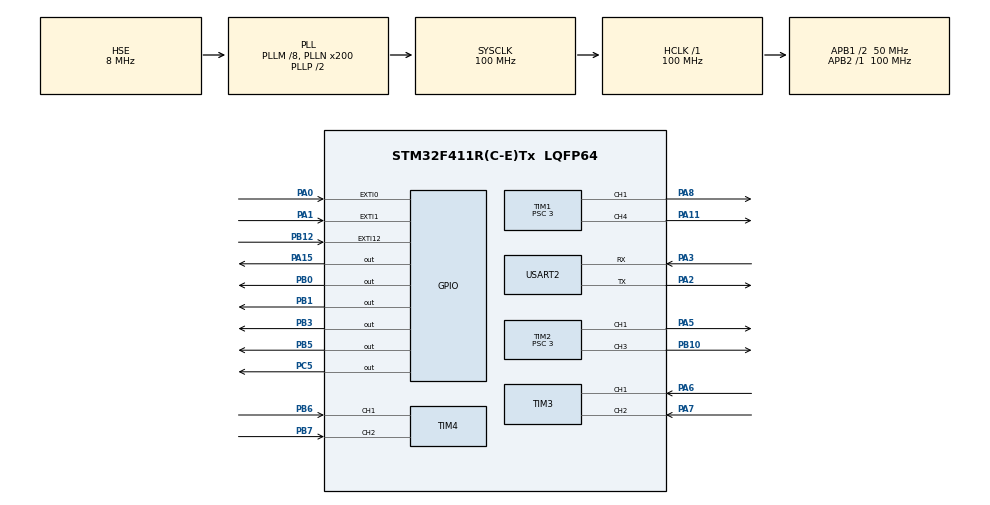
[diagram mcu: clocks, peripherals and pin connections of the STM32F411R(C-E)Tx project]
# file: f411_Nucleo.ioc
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Mcu.Family=STM32F4
Mcu.Name=STM32F411R(C-E)Tx
Mcu.Package=LQFP64
NVIC.EXTI0_IRQn=true\:0\:0\:false\:false\:true\:true\:true\:true
NVIC.EXTI1_IRQn=true\:0\:0\:false\:false\:true\:true\:true\:true
NVIC.PriorityGroup=NVIC_PRIORITYGROUP_4
NVIC.USART2_IRQn=true\:0\:0\:false\:false\:true\:true\:true\:true
PA0-WKUP.GPIO_ModeDefaultEXTI=GPIO_MODE_IT_FALLING
PA0-WKUP.GPIO_PuPd=GPIO_PULLUP
PA0-WKUP.Signal=GPXTI0
PA1.GPIO_ModeDefaultEXTI=GPIO_MODE_IT_FALLING
PA1.GPIO_PuPd=GPIO_PULLUP
PA1.Signal=GPXTI1
PA11.Signal=S_TIM1_CH4
PA13.Mode=Serial_Wire
PA13.Signal=SYS_JTMS-SWDIO
PA14.Mode=Serial_Wire
PA14.Signal=SYS_JTCK-SWCLK
PA15.Signal=GPIO_Output
PA2.Mode=Asynchronous
PA2.Signal=USART2_TX
PA3.Mode=Asynchronous
PA3.Signal=USART2_RX
PA5.Signal=S_TIM2_CH1_ETR
PA6.Signal=S_TIM3_CH1
PA7.Signal=S_TIM3_CH2
PA8.Signal=S_TIM1_CH1
PB0.Signal=GPIO_Output
PB1.Signal=GPIO_Output
PB10.Signal=S_TIM2_CH3
PB12.Signal=GPXTI12
PB3.Signal=GPIO_Output
PB5.Signal=GPIO_Output
PB6.Signal=S_TIM4_CH1
PB7.Signal=S_TIM4_CH2
PC5.Signal=GPIO_Output
PH0\ -\ OSC_IN.Mode=HSE-External-Oscillator
PH0\ -\ OSC_IN.Signal=RCC_OSC_IN
PH1\ -\ OSC_OUT.Mode=HSE-External-Oscillator
PH1\ -\ OSC_OUT.Signal=RCC_OSC_OUT
ProjectManager.HeapSize=0x200
ProjectManager.StackSize=0x400
ProjectManager.TargetToolchain=STM32CubeIDE
RCC.48MHZClocksFreq_Value=50000000
RCC.AHBFreq_Value=100000000
RCC.APB1CLKDivider=RCC_HCLK_DIV2
RCC.APB1Freq_Value=50000000
RCC.APB1TimFreq_Value=100000000
RCC.APB2Freq_Value=100000000
RCC.APB2TimFreq_Value=100000000
RCC.CortexFreq_Value=100000000
RCC.HCLKFreq_Value=100000000
RCC.HSE_VALUE=8000000
RCC.HSI_VALUE=16000000
RCC.LSE_VALUE=32768
RCC.PLLM=8
RCC.PLLN=200
RCC.PLLSourceVirtual=RCC_PLLSOURCE_HSE
RCC.SYSCLKFreq_VALUE=100000000
RCC.SYSCLKSource=RCC_SYSCLKSOURCE_PLLCLK
RCC.VCOOutputFreq_Value=200000000
SH.S_TIM1_CH1.0=TIM1_CH1,PWM Generation1 CH1
SH.S_TIM1_CH4.0=TIM1_CH4,PWM Generation4 CH4
SH.S_TIM2_CH1_ETR.0=TIM2_CH1,PWM Generation1 CH1
SH.S_TIM2_CH3.0=TIM2_CH3,PWM Generation3 CH3
SH.S_TIM3_CH1.0=TIM3_CH1,Encoder_Interface
SH.S_TIM3_CH2.0=TIM3_CH2,Encoder_Interface
SH.S_TIM4_CH1.0=TIM4_CH1,Encoder_Interface
SH.S_TIM4_CH2.0=TIM4_CH2,Encoder_Interface
TIM1.Channel-PWM\ Generation1\ CH1=TIM_CHANNEL_1
TIM1.Channel-PWM\ Generation4\ CH4=TIM_CHANNEL_4
TIM1.Period=999
TIM1.Prescaler=3
TIM2.Channel-PWM\ Generation1\ CH1=TIM_CHANNEL_1
TIM2.Channel-PWM\ Generation3\ CH3=TIM_CHANNEL_3
TIM2.Period=999
TIM2.Prescaler=3
TIM3.EncoderMode=TIM_ENCODERMODE_TI12
USART2.VirtualMode=VM_ASYNC
VP_TIM1_VS_ClockSourceINT.Mode=Internal
board=custom

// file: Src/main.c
/* USER CODE BEGIN Header */
/**
  ******************************************************************************
  * @file           : main.c
  * @brief          : F411 1kHz CF
  ******************************************************************************
  */
/* USER CODE END Header */
#include "main.h"

/* USER CODE BEGIN Includes */
#include "PID.h"
#include "sr595.h"
#include <math.h>
#include <stdio.h>
#include <string.h>
#include <stdlib.h>
/* USER CODE END Includes */

/* USER CODE BEGIN PD */

/* Controller parameters - Motor 1 */
#define PID_KP           0.7915f
#define PID_KI           1.0f
#define PID_KD           0.0f
#define PID_TAU          0.02f

#define PID_LIM_MIN     -10.0f
#define PID_LIM_MAX      10.0f
#define PID_LIM_MIN_INT  -5.0f
#define PID_LIM_MAX_INT   5.0f

/* Controller parameters - Motor 2 */
#define PID2_KP           1.0f
#define PID2_KI           0.0f
#define PID2_KD           0.04f
#define PID2_TAU          0.2f

#define PID2_LIM_MIN     -10.0f
#define PID2_LIM_MAX      10.0f
#define PID2_LIM_MIN_INT  -5.0f
#define PID2_LIM_MAX_INT   5.0f

#define SAMPLE_TIME_S    0.001f
#define TELEMETRY_MS     20U

/* Encoder */
#define COUNTS_PER_REV   700.0f

/* H-bridge PWM mapping on the F411 version */
#define PWM_REV_TIM      htim1
#define PWM_REV_CH       TIM_CHANNEL_1   /* PA8  */
#define PWM_FWD_TIM      htim1
#define PWM_FWD_CH       TIM_CHANNEL_4   /* PA11 */

/* ---------- Motor 2 ---------- */
#define COUNTS_PER_REV_M2   700.0f

#define M2_PWM_REV_TIM      htim2
#define M2_PWM_REV_CH       TIM_CHANNEL_1

#define M2_PWM_FWD_TIM      htim2
#define M2_PWM_FWD_CH       TIM_CHANNEL_3

/* Solenoid shift-register control */
#define NUM_SOLENOIDS        5U
#define SL1_MASK             ((uint8_t)(1U << 0))   /* QA */
#define SL2_MASK             ((uint8_t)(1U << 4))   /* QE */
#define SL3_MASK             ((uint8_t)(1U << 3))   /* QD */
#define SL4_MASK             ((uint8_t)(1U << 2))   /* QC */
#define SL5_SPECIAL_MASK     ((uint8_t)0xE2)        /* QB + QF + QG + QH */

/* Limit switch */
#define LIMIT_SW_GPIO_Port GPIOB
#define LIMIT_SW_Pin       GPIO_PIN_12

/* Hysteresis / safety */
#define U_ON              0.30f
#define U_OFF             0.05f
#define DUTY_MAX          0.38f
#define DUTY_MIN_ACTIVE   0.15f
#define DEADTIME_MS       50U

#define DUTY_MAX2         0.5f

#define HOMING_MOVE_AWAY_DUTY   0.4f
#define HOMING_SEEK_DUTY        0.35f
#define HOMING_MOVE_AWAY_MS     250U
#define HOMING_SETTLE_MS         30U
#define HOMING_TIMEOUT_MS      4000U

#define HOMING2_SEEK_DUTY           0.4f
#define HOMING2_BACKOFF_DUTY        0.25f
#define HOMING2_WINDOW_MS           50U
#define HOMING2_STARTUP_IGNORE_MS   300U
#define HOMING2_STALL_COUNTS        1
#define HOMING2_STALL_CONFIRM_MS    300U
#define HOMING2_BACKOFF_COUNTS      20U
#define HOMING2_SETTLE_MS           30U

//homing limit
#define HOMING2_MAX_SEEK_MS      3000U
#define HOMING2_MAX_BACKOFF_MS   1500U

#define SPREAD_LEVEL_MIN     0
#define SPREAD_LEVEL_MAX     4

static const float kSpreadAngleTable[5] =
{
    -10.0f,   /* level 0 */
    43.0f,  /* level 1 */
    86.0f,  /* level 2 */
    129.0f, /* level 3 */
    172.0f  /* level 4 */
};
/* USER CODE END PD */

TIM_HandleTypeDef htim1;
TIM_HandleTypeDef htim2;
TIM_HandleTypeDef htim3;
TIM_HandleTypeDef htim4;

UART_HandleTypeDef huart2;

/* USER CODE BEGIN PV */
volatile float desiredAngle = 0.0f;
volatile uint8_t solenoidState = 0;
volatile uint8_t limitSwitchRight = 0;

/* ---------- Motor 1 ---------- */
volatile float actualAngle = 0.0f;
volatile float duty_cmd = 0.0f;
volatile float control_u = 0.0f;
volatile int8_t dir = 0;

PIDController pid =
{
    PID_KP,
    PID_KI,
    PID_KD,
    PID_TAU,
    PID_LIM_MIN,
    PID_LIM_MAX,
    PID_LIM_MIN_INT,
    PID_LIM_MAX_INT,
    SAMPLE_TIME_S,
    0.0f,
    0.0f
};

static uint8_t rxByte;
static char rxLine[32];
static uint8_t rxIdx = 0;

static volatile int8_t dir_state = 0;
static volatile int8_t applied_dir = 0;
static volatile uint16_t deadtimeTicks = 0U;

/* ---------- Motor 2 ---------- */
volatile float desiredAngle2 = -10.0f;
volatile float actualAngle2 = 0.0f;
volatile float duty_cmd2 = 0.0f;
volatile float control_u2 = 0.0f;
volatile int8_t dir2 = 0;

PIDController pid2 =
{
    PID2_KP,
    PID2_KI,
    PID2_KD,
    PID2_TAU,
    PID2_LIM_MIN,
    PID2_LIM_MAX,
    PID2_LIM_MIN_INT,
    PID2_LIM_MAX_INT,
    SAMPLE_TIME_S,
    0.0f,
    0.0f
};

static volatile int8_t dir_state2 = 0;
static volatile int8_t applied_dir2 = 0;
static volatile uint16_t deadtimeTicks2 = 0U;
/* -------------------------*/

static volatile int32_t prevRawCount2 = 0;
static volatile float absAngle2 = 0.0f;

static volatile uint8_t controlEnabled = 0U;

static volatile uint8_t homingActive = 0U;
static volatile uint8_t homingRequest = 0U;

static volatile int32_t prevRawCount = 0;
static volatile float absAngle = 0.0f;

#define UART_TX_BUF_SIZE 512U
static uint8_t uartTxBuf[UART_TX_BUF_SIZE];
static volatile uint16_t uartTxHead = 0U;
static volatile uint16_t uartTxTail = 0U;
static volatile uint16_t uartTxCount = 0U;
static volatile uint16_t uartTxChunkLen = 0U;
static volatile uint8_t uartTxBusy = 0U;

static char printMessage[128];

/* SR595 state */
SR595_HandleTypeDef hsr;
static uint8_t solenoidMask = 0U;

/* USER CODE END PV */

void SystemClock_Config(void);
static void MX_GPIO_Init(void);
static void MX_TIM1_Init(void);
static void MX_TIM4_Init(void);
static void MX_USART2_UART_Init(void);
static void MX_TIM2_Init(void);
static void MX_TIM3_Init(void);
/* USER CODE BEGIN PFP */
static inline void PWM_SetDuty(TIM_HandleTypeDef *htim, uint32_t channel, float duty);
static void Solenoid_WriteMask(uint8_t mask);
static void Solenoid_Select(uint8_t selection);
static inline void Solenoid_Set(uint8_t on);
static uint8_t Solenoid_ParseExactMask(const char *s, uint8_t *outMask);
static inline uint8_t Read_Right_Limit_Switch(void);
static void UART_TxKickoff(void);
static void UART_QueueBytes(const uint8_t *data, uint16_t len);
static void UART_QueueString(const char *s);
static void VOFA_ParseCommand(const char *line);
static void Send_Telemetry(void);
static void Start_Peripherals(void);
static void Run_Homing_Routine(void);
static void home_motor1(void);
static void home_motor2(void);
void Control_Loop_1kHz(void);
static int32_t RoundFloatToInt(float x);
static float SpreadLevelToAngle(int32_t level);
/* USER CODE END PFP */

/* USER CODE BEGIN 0 */

static inline void PWM_SetDuty(TIM_HandleTypeDef *htim, uint32_t channel, float duty)
{
    if (duty < 0.0f) duty = 0.0f;
    if (duty > 1.0f) duty = 1.0f;

    uint32_t arr = __HAL_TIM_GET_AUTORELOAD(htim);
    uint32_t ccr = (uint32_t)(duty * (float)arr);
    __HAL_TIM_SET_COMPARE(htim, channel, ccr);
}

static int32_t RoundFloatToInt(float x)
{
    if (x >= 0.0f)
    {
        return (int32_t)(x + 0.5f);
    }
    else
    {
        return (int32_t)(x - 0.5f);
    }
}

static float SpreadLevelToAngle(int32_t level)
{
    if (level < SPREAD_LEVEL_MIN)
    {
        level = SPREAD_LEVEL_MIN;
    }
    if (level > SPREAD_LEVEL_MAX)
    {
        level = SPREAD_LEVEL_MAX;
    }

    return kSpreadAngleTable[level];
}

static void Solenoid_WriteMask(uint8_t mask)
{
    /* Board is active-low:
       logical 1 = solenoid ON
       hardware needs 0 on that output to turn it ON
    */
	SR595_Write(&hsr, mask);
}

static void Solenoid_Select(uint8_t selection)
{
    uint8_t newMask = 0U;

    if (selection == 0U)
    {
        solenoidState = 0U;
        solenoidMask  = 0U;
        Solenoid_WriteMask(solenoidMask);
    }
    else if (selection == 1U)
    {
        newMask = SL1_MASK;
        solenoidState = 1U;
        solenoidMask  = newMask;
        Solenoid_WriteMask(solenoidMask);
    }
    else if (selection == 2U)
    {
        newMask = SL2_MASK;
        solenoidState = 1U;
        solenoidMask  = newMask;
        Solenoid_WriteMask(solenoidMask);
    }
    else if (selection == 3U)
    {
        newMask = SL3_MASK;
        solenoidState = 1U;
        solenoidMask  = newMask;
        Solenoid_WriteMask(solenoidMask);
    }
    else if (selection == 4U)
    {
        newMask = SL4_MASK;
        solenoidState = 1U;
        solenoidMask  = newMask;
        Solenoid_WriteMask(solenoidMask);
    }
    else if (selection == 5U)
    {
        newMask = SL5_SPECIAL_MASK;
        solenoidState = 1U;
        solenoidMask  = newMask;
        Solenoid_WriteMask(solenoidMask);
    }
}

static uint8_t Solenoid_ParseExactMask(const char *s, uint8_t *outMask)
{
    uint8_t mask = 0U;
    uint8_t sawDigit = 0U;

    if ((s == NULL) || (outMask == NULL))
    {
        return 0U;
    }

    while (*s != '\0')
    {
        char c = *s++;
        sawDigit = 1U;

        switch (c)
        {
            case '0':
                if (*s != '\0' || mask != 0U)
                {
                    return 0U;
                }
                mask = 0U;
                break;

            case '1':
                mask |= SL1_MASK;
                break;

            case '2':
                mask |= SL2_MASK;
                break;

            case '3':
                mask |= SL3_MASK;
                break;

            case '4':
                mask |= SL4_MASK;
                break;

            case '5':
                mask |= SL5_SPECIAL_MASK;
                break;

            default:
                return 0U;
        }
    }

    if (sawDigit == 0U)
    {
        return 0U;
    }

    *outMask = mask;
    return 1U;
}

static inline void Solenoid_Set(uint8_t on)
{
    if (on != 0U)
    {
        Solenoid_Select(1U);
    }
    else
    {
        Solenoid_Select(0U);
    }
}

static inline uint8_t Read_Right_Limit_Switch(void)
{
    return (HAL_GPIO_ReadPin(LIMIT_SW_GPIO_Port, LIMIT_SW_Pin) == GPIO_PIN_SET) ? 0U : 1U;
}

static void UART_TxKickoff(void)
{
    if ((uartTxBusy != 0U) || (uartTxCount == 0U))
    {
        return;
    }

    if (uartTxHead > uartTxTail)
    {
        uartTxChunkLen = (uint16_t)(uartTxHead - uartTxTail);
    }
    else
    {
        uartTxChunkLen = (uint16_t)(UART_TX_BUF_SIZE - uartTxTail);
    }

    uartTxBusy = 1U;

    if (HAL_UART_Transmit_IT(&huart2, &uartTxBuf[uartTxTail], uartTxChunkLen) != HAL_OK)
    {
        uartTxBusy = 0U;
        uartTxChunkLen = 0U;
    }
}

static void UART_QueueBytes(const uint8_t *data, uint16_t len)
{
    uint32_t primask = __get_PRIMASK();
    __disable_irq();

    /* If whole message cannot fit, drop the whole message */
    if ((uint16_t)(uartTxCount + len) > UART_TX_BUF_SIZE)
    {
        if (primask == 0U)
        {
            __enable_irq();
        }
        return;
    }

    for (uint16_t i = 0U; i < len; i++)
    {
        uartTxBuf[uartTxHead] = data[i];
        uartTxHead = (uint16_t)((uartTxHead + 1U) % UART_TX_BUF_SIZE);
        uartTxCount++;
    }

    UART_TxKickoff();

    if (primask == 0U)
    {
        __enable_irq();
    }
}

static void UART_QueueString(const char *s)
{
    UART_QueueBytes((const uint8_t *)s, (uint16_t)strlen(s));
}

static void VOFA_ParseCommand(const char *line)
{
    const char *eq = strchr(line, '=');
    if (eq == NULL)
    {
        return;
    }

    float val = strtof(eq + 1, NULL);

    size_t prefixLen = (size_t)(eq - line);
    char prefix[8] = {0};

    if (prefixLen >= sizeof(prefix))
    {
        return;
    }

    memcpy(prefix, line, prefixLen);

    char ack[64];

    if (strcmp(prefix, "KP") == 0)
    {
        pid.Kp = val;
        snprintf(ack, sizeof(ack), "ACK KP=%.5f\r\n", pid.Kp);
    }
    else if (strcmp(prefix, "KI") == 0)
    {
        pid.Ki = val;
        pid.integrator = 0.0f;
        snprintf(ack, sizeof(ack), "ACK KI=%.5f\r\n", pid.Ki);
    }
    else if (strcmp(prefix, "KD") == 0)
    {
        pid.Kd = val;
        pid.differentiator = 0.0f;
        snprintf(ack, sizeof(ack), "ACK KD=%.5f\r\n", pid.Kd);
    }
    else if (strcmp(prefix, "TAU") == 0)
    {
        pid.tau = val;
        snprintf(ack, sizeof(ack), "ACK TAU=%.5f\r\n", pid.tau);
    }
    else if (strcmp(prefix, "SP") == 0)
    {
        desiredAngle = val;
        snprintf(ack, sizeof(ack), "ACK SP=%.3f\r\n", desiredAngle);
    }
    else if (strcmp(prefix, "SL") == 0)
    {
        uint8_t newMask = 0U;
        char roundedStr[16];
        char *endptr = NULL;
        float rawSel;
        long roundedSel;

        rawSel = strtof(eq + 1, &endptr);

        if ((endptr == (eq + 1)) || ((*endptr != '\0') && (*endptr != '\r') && (*endptr != '\n')))
        {
            snprintf(ack, sizeof(ack), "ERR SL format\r\n");
        }
        else
        {
            /* Round float from VOFA to nearest integer */
            if (rawSel >= 0.0f)
            {
                roundedSel = (long)(rawSel + 0.5f);
            }
            else
            {
                roundedSel = (long)(rawSel - 0.5f);
            }

            if ((roundedSel < 0L) || (roundedSel > 55555L))
            {
                snprintf(ack, sizeof(ack), "ERR SL range\r\n");
            }
            else
            {
                snprintf(roundedStr, sizeof(roundedStr), "%ld", roundedSel);

                if (Solenoid_ParseExactMask(roundedStr, &newMask) != 0U)
                {
                    solenoidMask  = newMask;
                    solenoidState = (newMask != 0U) ? 1U : 0U;
                    Solenoid_WriteMask(solenoidMask);
                    snprintf(ack, sizeof(ack), "ACK SL=%s\r\n", roundedStr);
                }
                else
                {
                    snprintf(ack, sizeof(ack), "ERR SL format\r\n");
                }
            }
        }
    }
    else if (strcmp(prefix, "RE") == 0)
    {
        if (val >= 0.5f)
        {
            homingRequest = 1U;
            snprintf(ack, sizeof(ack), "ACK RE=1\r\n");
        }
        else
        {
            snprintf(ack, sizeof(ack), "ACK RE=0\r\n");
        }
    }
    else if (strcmp(prefix, "KP2") == 0)
    {
        pid2.Kp = val;
        snprintf(ack, sizeof(ack), "ACK KP2=%.5f\r\n", pid2.Kp);
    }
    else if (strcmp(prefix, "KI2") == 0)
    {
        pid2.Ki = val;
        pid2.integrator = 0.0f;
        snprintf(ack, sizeof(ack), "ACK KI2=%.5f\r\n", pid2.Ki);
    }
    else if (strcmp(prefix, "KD2") == 0)
    {
        pid2.Kd = val;
        pid2.differentiator = 0.0f;
        snprintf(ack, sizeof(ack), "ACK KD2=%.5f\r\n", pid2.Kd);
    }
    else if (strcmp(prefix, "TAU2") == 0)
    {
        pid2.tau = val;
        snprintf(ack, sizeof(ack), "ACK TAU2=%.5f\r\n", pid2.tau);
    }
    else if (strcmp(prefix, "SP2") == 0)
{
    desiredAngle2 = val;
    snprintf(ack, sizeof(ack), "ACK SP2=%.3f\r\n", desiredAngle2);
}
	else if (strcmp(prefix, "SF") == 0)
	{
			int32_t spreadLevel = RoundFloatToInt(val);

			if ((spreadLevel < SPREAD_LEVEL_MIN) || (spreadLevel > SPREAD_LEVEL_MAX))
			{
					snprintf(
							ack,
							sizeof(ack),
							"ERR SF range (%d..%d)\r\n",
							SPREAD_LEVEL_MIN,
							SPREAD_LEVEL_MAX
					);
			}
			else
			{
					desiredAngle2 = SpreadLevelToAngle(spreadLevel);

					snprintf(
							ack,
							sizeof(ack),
							"ACK SF=%ld -> SP2=%.3f\r\n",
							(long)spreadLevel,
							desiredAngle2
					);
			}
	}
    else
    {
        snprintf(ack, sizeof(ack), "ERR unknown cmd: %s\r\n", prefix);
    }

    UART_QueueString(ack);
}

static void Send_Telemetry(void)
{
    int n = snprintf(
        printMessage,
        sizeof(printMessage),
        "%.3f, %.3f, %.3f, %.3f, %d, %.3f, %.3f, %.3f, %.3f, %d, %d, %d\r\n",
        desiredAngle,
        actualAngle,
        duty_cmd,
        control_u,
        dir,
        desiredAngle2,
        actualAngle2,
        duty_cmd2,
        control_u2,
        dir2,
        solenoidState,
        (int)homingActive
    );

    if (n > 0)
    {
        UART_QueueBytes((const uint8_t *)printMessage, (uint16_t)n);
    }
}

static void Start_Peripherals(void)
{
    PIDController_Init(&pid);

    HAL_TIM_Encoder_Start(&htim4, TIM_CHANNEL_ALL);

    HAL_TIM_PWM_Start(&PWM_REV_TIM, PWM_REV_CH);
    HAL_TIM_PWM_Start(&PWM_FWD_TIM, PWM_FWD_CH);

    PWM_SetDuty(&PWM_REV_TIM, PWM_REV_CH, 0.0f);
    PWM_SetDuty(&PWM_FWD_TIM, PWM_FWD_CH, 0.0f);

    prevRawCount = (int32_t)TIM4->CNT;
    absAngle = 0.0f;
    dir_state = 0;
    applied_dir = 0;
    dir = 0;
    deadtimeTicks = 0U;

    HAL_UART_Receive_IT(&huart2, &rxByte, 1);

    /* SR595 pin mapping:
     PB0 = data
     PB1 = clock
     PC5 = latch
    */
    hsr.data_port  = GPIOB;
    hsr.data_pin   = GPIO_PIN_0;
    hsr.clk_port   = GPIOB;
    hsr.clk_pin    = GPIO_PIN_1;
    hsr.latch_port = GPIOC;
    hsr.latch_pin  = GPIO_PIN_5;

    SR595_Init(&hsr);
    solenoidMask = 0U;
    Solenoid_WriteMask(solenoidMask);

    controlEnabled = 1U;

    PIDController_Init(&pid2);

    HAL_TIM_Encoder_Start(&htim3, TIM_CHANNEL_ALL);

    HAL_TIM_PWM_Start(&M2_PWM_REV_TIM, M2_PWM_REV_CH);
    HAL_TIM_PWM_Start(&M2_PWM_FWD_TIM, M2_PWM_FWD_CH);

    PWM_SetDuty(&M2_PWM_REV_TIM, M2_PWM_REV_CH, 0.0f);
    PWM_SetDuty(&M2_PWM_FWD_TIM, M2_PWM_FWD_CH, 0.0f);

    prevRawCount2 = (int32_t)TIM3->CNT;
    absAngle2 = 0.0f;
    dir_state2 = 0;
    applied_dir2 = 0;
    dir2 = 0;
    deadtimeTicks2 = 0U;
}

static void Run_Homing_Routine(void)
{
    homingActive = 1U;
    Send_Telemetry();

    controlEnabled = 0U;

    /* Stop both motors before homing */
    PWM_SetDuty(&PWM_FWD_TIM,    PWM_FWD_CH,    0.0f);
    PWM_SetDuty(&PWM_REV_TIM,    PWM_REV_CH,    0.0f);
    PWM_SetDuty(&M2_PWM_FWD_TIM, M2_PWM_FWD_CH, 0.0f);
    PWM_SetDuty(&M2_PWM_REV_TIM, M2_PWM_REV_CH, 0.0f);

    /* Home motor 2 first, then motor 1 */
    home_motor2();
    home_motor1();

    homingActive = 0U;
    controlEnabled = 1U;

    Send_Telemetry();
}

static void home_motor1(void)
{
    PWM_SetDuty(&PWM_FWD_TIM, PWM_FWD_CH, 0.0f);
    PWM_SetDuty(&PWM_REV_TIM, PWM_REV_CH, 0.0f);

    pid.integrator      = 0.0f;
    pid.differentiator  = 0.0f;
    pid.prevError       = 0.0f;
    pid.prevMeasurement = actualAngle;
    control_u           = 0.0f;
    duty_cmd            = 0.0f;
    dir_state           = 0;
    applied_dir         = 0;
    deadtimeTicks       = 0U;
    limitSwitchRight    = Read_Right_Limit_Switch();

    /* If already sitting on the home switch, back off first so the next hit is real. */
    dir = -1;
    PWM_SetDuty(&PWM_FWD_TIM, PWM_REV_CH, HOMING_MOVE_AWAY_DUTY);
    PWM_SetDuty(&PWM_REV_TIM, PWM_FWD_CH, 0.0f);
    HAL_Delay(HOMING_MOVE_AWAY_MS);

    PWM_SetDuty(&PWM_FWD_TIM, PWM_FWD_CH, 0.0f);
    PWM_SetDuty(&PWM_REV_TIM, PWM_REV_CH, 0.0f);
    HAL_Delay(HOMING_SETTLE_MS);

    /* Seek toward the home switch. No timeout. */
    dir = +1;

    while (Read_Right_Limit_Switch() == 0U)
    {
        PWM_SetDuty(&PWM_REV_TIM, PWM_FWD_CH, HOMING_SEEK_DUTY);
        PWM_SetDuty(&PWM_FWD_TIM, PWM_REV_CH, 0.0f);
        HAL_Delay(1);
    }
    PWM_SetDuty(&PWM_FWD_TIM, PWM_FWD_CH, 0.0f);
    PWM_SetDuty(&PWM_REV_TIM, PWM_REV_CH, 0.0f);
    HAL_Delay(500);

    PWM_SetDuty(&PWM_FWD_TIM, PWM_REV_CH, HOMING_MOVE_AWAY_DUTY);
    PWM_SetDuty(&PWM_REV_TIM, PWM_FWD_CH, 0.0f);
    HAL_Delay(50);

    PWM_SetDuty(&PWM_FWD_TIM, PWM_FWD_CH, 0.0f);
    PWM_SetDuty(&PWM_REV_TIM, PWM_REV_CH, 0.0f);
    HAL_Delay(500);

    TIM4->CNT            = 0U;
    prevRawCount         = 0;
    absAngle             = 0.0f;
    actualAngle          = 0.0f;
    desiredAngle         = 0.0f;
    control_u            = 0.0f;
    duty_cmd             = 0.0f;
    pid.integrator       = 0.0f;
    pid.differentiator   = 0.0f;
    pid.prevError        = 0.0f;
    pid.prevMeasurement  = 0.0f;
    dir_state            = 0;
    applied_dir          = 0;
    dir                  = 0;
    deadtimeTicks        = 0U;
    limitSwitchRight     = Read_Right_Limit_Switch();
    Solenoid_Set(0U);

    HAL_Delay(100);
}

static void home_motor2(void)
{
    uint32_t startTick;
    uint32_t windowStart;
    uint32_t stallStartTick;

    int32_t rawCount2;
    int32_t delta2;
    int32_t absDelta2;
    int32_t windowMotionCounts;

    float backoffTargetAngle;

    PWM_SetDuty(&M2_PWM_FWD_TIM, M2_PWM_FWD_CH, 0.0f);
    PWM_SetDuty(&M2_PWM_REV_TIM, M2_PWM_REV_CH, 0.0f);

    pid2.integrator      = 0.0f;
    pid2.differentiator  = 0.0f;
    pid2.prevError       = 0.0f;
    pid2.prevMeasurement = actualAngle2;
    control_u2           = 0.0f;
    duty_cmd2            = 0.0f;
    dir_state2           = 0;
    applied_dir2         = 0;
    deadtimeTicks2       = 0U;

    prevRawCount2 = (int32_t)TIM3->CNT;

    /* decreasing actualAngle2 means going toward home */
    dir2 = -1;
    startTick = HAL_GetTick();
		windowStart = startTick;
		stallStartTick = 0U;
		windowMotionCounts = 0;

		while (1)
		{
				if ((HAL_GetTick() - startTick) >= HOMING2_MAX_SEEK_MS)
				{
						break;
				}

				PWM_SetDuty(&M2_PWM_FWD_TIM, M2_PWM_FWD_CH, HOMING2_SEEK_DUTY);
				PWM_SetDuty(&M2_PWM_REV_TIM, M2_PWM_REV_CH, 0.0f);

				rawCount2 = (int32_t)TIM3->CNT;

				delta2 = rawCount2 - prevRawCount2;
				if (delta2 > 32767)  delta2 -= 65536;
				if (delta2 < -32767) delta2 += 65536;
				prevRawCount2 = rawCount2;

				absAngle2 += (360.0f / COUNTS_PER_REV_M2) * (float)delta2;
				actualAngle2 = absAngle2;

				absDelta2 = delta2;
				if (absDelta2 < 0) absDelta2 = -absDelta2;
				windowMotionCounts += absDelta2;

				if ((HAL_GetTick() - windowStart) >= HOMING2_WINDOW_MS)
				{
						if ((HAL_GetTick() - startTick) >= HOMING2_STARTUP_IGNORE_MS)
						{
								if (windowMotionCounts <= HOMING2_STALL_COUNTS)
								{
										if (stallStartTick == 0U)
										{
												stallStartTick = HAL_GetTick();
										}

										if ((HAL_GetTick() - stallStartTick) >= HOMING2_STALL_CONFIRM_MS)
										{
												break;
										}
								}
								else
								{
										stallStartTick = 0U;
								}
						}

						windowMotionCounts = 0;
						windowStart = HAL_GetTick();
				}

				HAL_Delay(1);
		}

    PWM_SetDuty(&M2_PWM_FWD_TIM, M2_PWM_FWD_CH, 0.0f);
    PWM_SetDuty(&M2_PWM_REV_TIM, M2_PWM_REV_CH, 0.0f);
    dir2 = 0;

    HAL_Delay(HOMING2_SETTLE_MS);

    /* Back off slightly from the wall */
    backoffTargetAngle = actualAngle2 +
        ((360.0f / COUNTS_PER_REV_M2) * (float)HOMING2_BACKOFF_COUNTS);

    prevRawCount2 = (int32_t)TIM3->CNT;
    dir2 = +1;
		uint32_t backoffStartTick = HAL_GetTick();

		while (actualAngle2 < backoffTargetAngle)
		{
				if ((HAL_GetTick() - backoffStartTick) >= HOMING2_MAX_BACKOFF_MS)
				{
						break;
				}

				PWM_SetDuty(&M2_PWM_FWD_TIM, M2_PWM_FWD_CH, 0.0f);
				PWM_SetDuty(&M2_PWM_REV_TIM, M2_PWM_REV_CH, HOMING2_BACKOFF_DUTY);

				rawCount2 = (int32_t)TIM3->CNT;

				delta2 = rawCount2 - prevRawCount2;
				if (delta2 > 32767)  delta2 -= 65536;
				if (delta2 < -32767) delta2 += 65536;
				prevRawCount2 = rawCount2;

				absAngle2 += (360.0f / COUNTS_PER_REV_M2) * (float)delta2;
				actualAngle2 = absAngle2;

				HAL_Delay(1);
		}

    PWM_SetDuty(&M2_PWM_FWD_TIM, M2_PWM_FWD_CH, 0.0f);
    PWM_SetDuty(&M2_PWM_REV_TIM, M2_PWM_REV_CH, 0.0f);
    dir2 = 0;

    HAL_Delay(HOMING2_SETTLE_MS);

    TIM3->CNT            = 0U;
    prevRawCount2        = 0;
    absAngle2            = 0.0f;
    actualAngle2         = 0.0f;
    desiredAngle2        = -10.0f;
    control_u2           = 0.0f;
    duty_cmd2            = 0.0f;
    pid2.integrator      = 0.0f;
    pid2.differentiator  = 0.0f;
    pid2.prevError       = 0.0f;
    pid2.prevMeasurement = 0.0f;
    dir_state2           = 0;
    applied_dir2         = 0;
    dir2                 = 0;
    deadtimeTicks2       = 0U;
}
/* USER CODE END 0 */

int main(void)
{

  /* MCU Configuration--------------------------------------------------------*/

  /* Reset of all peripherals, Initializes the Flash interface and the Systick. */
  HAL_Init();

  /* Configure the system clock */
  SystemClock_Config();

  /* Initialize all configured peripherals */
  MX_GPIO_Init();
  MX_TIM1_Init();
  MX_TIM4_Init();
  MX_USART2_UART_Init();
  MX_TIM2_Init();
  MX_TIM3_Init();

  /* USER CODE BEGIN 2 */
  Start_Peripherals();
  Run_Homing_Routine();

  uint32_t nextCtrlTick  = HAL_GetTick();
  uint32_t nextPrintTick = HAL_GetTick();
  /* USER CODE END 2 */

  /* Infinite loop */
  /* USER CODE BEGIN WHILE */
  while (1)
  {
    uint32_t now = HAL_GetTick();

    if (homingRequest != 0U)
    {
      homingRequest = 0U;
      Run_Homing_Routine();
    }

    if ((uint32_t)(now - nextCtrlTick) >= 1U)
    {
      nextCtrlTick += 1U;
      Control_Loop_1kHz();
    }

    if ((uint32_t)(now - nextPrintTick) >= TELEMETRY_MS)
    {
      nextPrintTick += TELEMETRY_MS;
      Send_Telemetry();
    }

    /* USER CODE END WHILE */

  }
}

void SystemClock_Config(void)
{
  RCC_OscInitTypeDef RCC_OscInitStruct = {0};
  RCC_ClkInitTypeDef RCC_ClkInitStruct = {0};

  /** Configure the main internal regulator output voltage
  */
  __HAL_RCC_PWR_CLK_ENABLE();
  __HAL_PWR_VOLTAGESCALING_CONFIG(PWR_REGULATOR_VOLTAGE_SCALE1);

  /** Initializes the RCC Oscillators according to the specified parameters
  * in the RCC_OscInitTypeDef structure.
  */
  RCC_OscInitStruct.OscillatorType = RCC_OSCILLATORTYPE_HSE;
  RCC_OscInitStruct.HSEState = RCC_HSE_ON;
  RCC_OscInitStruct.PLL.PLLState = RCC_PLL_ON;
  RCC_OscInitStruct.PLL.PLLSource = RCC_PLLSOURCE_HSE;
  RCC_OscInitStruct.PLL.PLLM = 8;
  RCC_OscInitStruct.PLL.PLLN = 200;
  RCC_OscInitStruct.PLL.PLLP = RCC_PLLP_DIV2;
  RCC_OscInitStruct.PLL.PLLQ = 4;
  if (HAL_RCC_OscConfig(&RCC_OscInitStruct) != HAL_OK)
  {
    Error_Handler();
  }

  /** Initializes the CPU, AHB and APB buses clocks
  */
  RCC_ClkInitStruct.ClockType = RCC_CLOCKTYPE_HCLK|RCC_CLOCKTYPE_SYSCLK
                              |RCC_CLOCKTYPE_PCLK1|RCC_CLOCKTYPE_PCLK2;
  RCC_ClkInitStruct.SYSCLKSource = RCC_SYSCLKSOURCE_PLLCLK;
  RCC_ClkInitStruct.AHBCLKDivider = RCC_SYSCLK_DIV1;
  RCC_ClkInitStruct.APB1CLKDivider = RCC_HCLK_DIV2;
  RCC_ClkInitStruct.APB2CLKDivider = RCC_HCLK_DIV1;

  if (HAL_RCC_ClockConfig(&RCC_ClkInitStruct, FLASH_LATENCY_3) != HAL_OK)
  {
    Error_Handler();
  }
}

static void MX_TIM1_Init(void)
{

  TIM_ClockConfigTypeDef sClockSourceConfig = {0};
  TIM_MasterConfigTypeDef sMasterConfig = {0};
  TIM_OC_InitTypeDef sConfigOC = {0};
  TIM_BreakDeadTimeConfigTypeDef sBreakDeadTimeConfig = {0};

  htim1.Instance = TIM1;
  htim1.Init.Prescaler = 3;
  htim1.Init.CounterMode = TIM_COUNTERMODE_UP;
  htim1.Init.Period = 999;
  htim1.Init.ClockDivision = TIM_CLOCKDIVISION_DIV1;
  htim1.Init.RepetitionCounter = 0;
  htim1.Init.AutoReloadPreload = TIM_AUTORELOAD_PRELOAD_DISABLE;
  if (HAL_TIM_Base_Init(&htim1) != HAL_OK)
  {
    Error_Handler();
  }
  sClockSourceConfig.ClockSource = TIM_CLOCKSOURCE_INTERNAL;
  if (HAL_TIM_ConfigClockSource(&htim1, &sClockSourceConfig) != HAL_OK)
  {
    Error_Handler();
  }
  if (HAL_TIM_PWM_Init(&htim1) != HAL_OK)
  {
    Error_Handler();
  }
  sMasterConfig.MasterOutputTrigger = TIM_TRGO_RESET;
  sMasterConfig.MasterSlaveMode = TIM_MASTERSLAVEMODE_DISABLE;
  if (HAL_TIMEx_MasterConfigSynchronization(&htim1, &sMasterConfig) != HAL_OK)
  {
    Error_Handler();
  }
  sConfigOC.OCMode = TIM_OCMODE_PWM1;
  sConfigOC.Pulse = 0;
  sConfigOC.OCPolarity = TIM_OCPOLARITY_HIGH;
  sConfigOC.OCNPolarity = TIM_OCNPOLARITY_HIGH;
  sConfigOC.OCFastMode = TIM_OCFAST_DISABLE;
  sConfigOC.OCIdleState = TIM_OCIDLESTATE_RESET;
  sConfigOC.OCNIdleState = TIM_OCNIDLESTATE_RESET;
  if (HAL_TIM_PWM_ConfigChannel(&htim1, &sConfigOC, TIM_CHANNEL_1) != HAL_OK)
  {
    Error_Handler();
  }
  if (HAL_TIM_PWM_ConfigChannel(&htim1, &sConfigOC, TIM_CHANNEL_4) != HAL_OK)
  {
    Error_Handler();
  }
  sBreakDeadTimeConfig.OffStateRunMode = TIM_OSSR_DISABLE;
  sBreakDeadTimeConfig.OffStateIDLEMode = TIM_OSSI_DISABLE;
  sBreakDeadTimeConfig.LockLevel = TIM_LOCKLEVEL_OFF;
  sBreakDeadTimeConfig.DeadTime = 0;
  sBreakDeadTimeConfig.BreakState = TIM_BREAK_DISABLE;
  sBreakDeadTimeConfig.BreakPolarity = TIM_BREAKPOLARITY_HIGH;
  sBreakDeadTimeConfig.AutomaticOutput = TIM_AUTOMATICOUTPUT_DISABLE;
  if (HAL_TIMEx_ConfigBreakDeadTime(&htim1, &sBreakDeadTimeConfig) != HAL_OK)
  {
    Error_Handler();
  }
  HAL_TIM_MspPostInit(&htim1);

}

static void MX_TIM2_Init(void)
{

  TIM_MasterConfigTypeDef sMasterConfig = {0};
  TIM_OC_InitTypeDef sConfigOC = {0};

  htim2.Instance = TIM2;
  htim2.Init.Prescaler = 3;
  htim2.Init.CounterMode = TIM_COUNTERMODE_UP;
  htim2.Init.Period = 999;
  htim2.Init.ClockDivision = TIM_CLOCKDIVISION_DIV1;
  htim2.Init.AutoReloadPreload = TIM_AUTORELOAD_PRELOAD_DISABLE;
  if (HAL_TIM_PWM_Init(&htim2) != HAL_OK)
  {
    Error_Handler();
  }
  sMasterConfig.MasterOutputTrigger = TIM_TRGO_RESET;
  sMasterConfig.MasterSlaveMode = TIM_MASTERSLAVEMODE_DISABLE;
  if (HAL_TIMEx_MasterConfigSynchronization(&htim2, &sMasterConfig) != HAL_OK)
  {
    Error_Handler();
  }
  sConfigOC.OCMode = TIM_OCMODE_PWM1;
  sConfigOC.Pulse = 0;
  sConfigOC.OCPolarity = TIM_OCPOLARITY_HIGH;
  sConfigOC.OCFastMode = TIM_OCFAST_DISABLE;
  if (HAL_TIM_PWM_ConfigChannel(&htim2, &sConfigOC, TIM_CHANNEL_1) != HAL_OK)
  {
    Error_Handler();
  }
  if (HAL_TIM_PWM_ConfigChannel(&htim2, &sConfigOC, TIM_CHANNEL_3) != HAL_OK)
  {
    Error_Handler();
  }
  HAL_TIM_MspPostInit(&htim2);

}

static void MX_TIM3_Init(void)
{

  TIM_Encoder_InitTypeDef sConfig = {0};
  TIM_MasterConfigTypeDef sMasterConfig = {0};

  htim3.Instance = TIM3;
  htim3.Init.Prescaler = 0;
  htim3.Init.CounterMode = TIM_COUNTERMODE_UP;
  htim3.Init.Period = 65535;
  htim3.Init.ClockDivision = TIM_CLOCKDIVISION_DIV1;
  htim3.Init.AutoReloadPreload = TIM_AUTORELOAD_PRELOAD_DISABLE;
  sConfig.EncoderMode = TIM_ENCODERMODE_TI12;
  sConfig.IC1Polarity = TIM_ICPOLARITY_RISING;
  sConfig.IC1Selection = TIM_ICSELECTION_DIRECTTI;
  sConfig.IC1Prescaler = TIM_ICPSC_DIV1;
  sConfig.IC1Filter = 0;
  sConfig.IC2Polarity = TIM_ICPOLARITY_RISING;
  sConfig.IC2Selection = TIM_ICSELECTION_DIRECTTI;
  sConfig.IC2Prescaler = TIM_ICPSC_DIV1;
  sConfig.IC2Filter = 0;
  if (HAL_TIM_Encoder_Init(&htim3, &sConfig) != HAL_OK)
  {
    Error_Handler();
  }
  sMasterConfig.MasterOutputTrigger = TIM_TRGO_RESET;
  sMasterConfig.MasterSlaveMode = TIM_MASTERSLAVEMODE_DISABLE;
  if (HAL_TIMEx_MasterConfigSynchronization(&htim3, &sMasterConfig) != HAL_OK)
  {
    Error_Handler();
  }

}

static void MX_TIM4_Init(void)
{

  TIM_Encoder_InitTypeDef sConfig = {0};
  TIM_MasterConfigTypeDef sMasterConfig = {0};

  htim4.Instance = TIM4;
  htim4.Init.Prescaler = 0;
  htim4.Init.CounterMode = TIM_COUNTERMODE_UP;
  htim4.Init.Period = 65535;
  htim4.Init.ClockDivision = TIM_CLOCKDIVISION_DIV1;
  htim4.Init.AutoReloadPreload = TIM_AUTORELOAD_PRELOAD_DISABLE;
  sConfig.EncoderMode = TIM_ENCODERMODE_TI1;
  sConfig.IC1Polarity = TIM_ICPOLARITY_RISING;
  sConfig.IC1Selection = TIM_ICSELECTION_DIRECTTI;
  sConfig.IC1Prescaler = TIM_ICPSC_DIV1;
  sConfig.IC1Filter = 0;
  sConfig.IC2Polarity = TIM_ICPOLARITY_RISING;
  sConfig.IC2Selection = TIM_ICSELECTION_DIRECTTI;
  sConfig.IC2Prescaler = TIM_ICPSC_DIV1;
  sConfig.IC2Filter = 0;
  if (HAL_TIM_Encoder_Init(&htim4, &sConfig) != HAL_OK)
  {
    Error_Handler();
  }
  sMasterConfig.MasterOutputTrigger = TIM_TRGO_RESET;
  sMasterConfig.MasterSlaveMode = TIM_MASTERSLAVEMODE_DISABLE;
  if (HAL_TIMEx_MasterConfigSynchronization(&htim4, &sMasterConfig) != HAL_OK)
  {
    Error_Handler();
  }

}

static void MX_USART2_UART_Init(void)
{

  huart2.Instance = USART2;
  huart2.Init.BaudRate = 115200;
  huart2.Init.WordLength = UART_WORDLENGTH_8B;
  huart2.Init.StopBits = UART_STOPBITS_1;
  huart2.Init.Parity = UART_PARITY_NONE;
  huart2.Init.Mode = UART_MODE_TX_RX;
  huart2.Init.HwFlowCtl = UART_HWCONTROL_NONE;
  huart2.Init.OverSampling = UART_OVERSAMPLING_16;
  if (HAL_UART_Init(&huart2) != HAL_OK)
  {
    Error_Handler();
  }

}

static void MX_GPIO_Init(void)
{
  GPIO_InitTypeDef GPIO_InitStruct = {0};

  /* GPIO Ports Clock Enable */
  __HAL_RCC_GPIOH_CLK_ENABLE();
  __HAL_RCC_GPIOA_CLK_ENABLE();
  __HAL_RCC_GPIOC_CLK_ENABLE();
  __HAL_RCC_GPIOB_CLK_ENABLE();

  /*Configure GPIO pin Output Level */
  HAL_GPIO_WritePin(GPIOC, GPIO_PIN_5, GPIO_PIN_RESET);

  /*Configure GPIO pin Output Level */
  HAL_GPIO_WritePin(GPIOB, GPIO_PIN_0|GPIO_PIN_1|GPIO_PIN_3|GPIO_PIN_5, GPIO_PIN_RESET);

  /*Configure GPIO pin Output Level */
  HAL_GPIO_WritePin(GPIOA, GPIO_PIN_15, GPIO_PIN_RESET);

  /*Configure GPIO pins : PA0 PA1 */
  GPIO_InitStruct.Pin = GPIO_PIN_0|GPIO_PIN_1;
  GPIO_InitStruct.Mode = GPIO_MODE_IT_FALLING;
  GPIO_InitStruct.Pull = GPIO_PULLUP;
  HAL_GPIO_Init(GPIOA, &GPIO_InitStruct);

  /*Configure GPIO pin : PC5 */
  GPIO_InitStruct.Pin = GPIO_PIN_5;
  GPIO_InitStruct.Mode = GPIO_MODE_OUTPUT_PP;
  GPIO_InitStruct.Pull = GPIO_NOPULL;
  GPIO_InitStruct.Speed = GPIO_SPEED_FREQ_LOW;
  HAL_GPIO_Init(GPIOC, &GPIO_InitStruct);

  /*Configure GPIO pins : PB0 PB1 PB3 PB5 */
  GPIO_InitStruct.Pin = GPIO_PIN_0|GPIO_PIN_1|GPIO_PIN_3|GPIO_PIN_5;
  GPIO_InitStruct.Mode = GPIO_MODE_OUTPUT_PP;
  GPIO_InitStruct.Pull = GPIO_NOPULL;
  GPIO_InitStruct.Speed = GPIO_SPEED_FREQ_LOW;
  HAL_GPIO_Init(GPIOB, &GPIO_InitStruct);

  /*Configure GPIO pin : PB12 */
  GPIO_InitStruct.Pin = GPIO_PIN_12;
  GPIO_InitStruct.Mode = GPIO_MODE_IT_RISING;
  GPIO_InitStruct.Pull = GPIO_PULLUP;
  HAL_GPIO_Init(GPIOB, &GPIO_InitStruct);

  /*Configure GPIO pin : PA15 */
  GPIO_InitStruct.Pin = GPIO_PIN_15;
  GPIO_InitStruct.Mode = GPIO_MODE_OUTPUT_PP;
  GPIO_InitStruct.Pull = GPIO_NOPULL;
  GPIO_InitStruct.Speed = GPIO_SPEED_FREQ_LOW;
  HAL_GPIO_Init(GPIOA, &GPIO_InitStruct);

  /* EXTI interrupt init*/
  HAL_NVIC_SetPriority(EXTI0_IRQn, 0, 0);
  HAL_NVIC_EnableIRQ(EXTI0_IRQn);

  HAL_NVIC_SetPriority(EXTI1_IRQn, 0, 0);
  HAL_NVIC_EnableIRQ(EXTI1_IRQn);

}

/* USER CODE BEGIN 4 */

void HAL_UART_RxCpltCallback(UART_HandleTypeDef *huart)
{
    if (huart->Instance == USART2)
    {
        char c = (char)rxByte;

        if (c == '!' || c == '\n' || c == '\r')
        {
            if (rxIdx > 0U)
            {
                rxLine[rxIdx] = '\0';
                VOFA_ParseCommand(rxLine);
                rxIdx = 0U;
            }
        }
        else
        {
            if (rxIdx < (sizeof(rxLine) - 1U))
            {
                rxLine[rxIdx++] = c;
            }
            else
            {
                rxIdx = 0U;
            }
        }

        HAL_UART_Receive_IT(&huart2, &rxByte, 1);
    }
}

void HAL_GPIO_EXTI_Callback(uint16_t GPIO_Pin)
{
    if (GPIO_Pin == LIMIT_SW_Pin)
    {
        limitSwitchRight = Read_Right_Limit_Switch();

        if (homingActive != 0U)
        {
            return;
        }

        if ((limitSwitchRight != 0U) && (dir < 0))
        {
            PWM_SetDuty(&PWM_FWD_TIM, PWM_FWD_CH, 0.0f);
            PWM_SetDuty(&PWM_REV_TIM, PWM_REV_CH, 0.0f);
            applied_dir = 0;
            dir_state = 0;
            dir = 0;
            duty_cmd = 0.0f;
            control_u = 0.0f;
            deadtimeTicks = 0U;
            pid.integrator = 0.0f;
            pid.differentiator = 0.0f;
            pid.prevError = 0.0f;
            pid.prevMeasurement = actualAngle;
            absAngle = 0.0f;
            actualAngle = 0.0f;
            desiredAngle = 0.0f;
            Solenoid_Set(0U);
        }
    }
}

void HAL_UART_TxCpltCallback(UART_HandleTypeDef *huart)
{
    if (huart->Instance == USART2)
    {
        uartTxTail = (uint16_t)((uartTxTail + uartTxChunkLen) % UART_TX_BUF_SIZE);

        if (uartTxCount >= uartTxChunkLen)
        {
            uartTxCount = (uint16_t)(uartTxCount - uartTxChunkLen);
        }
        else
        {
            uartTxCount = 0U;
        }

        uartTxChunkLen = 0U;
        uartTxBusy = 0U;
        UART_TxKickoff();
    }
}

void Control_Loop_1kHz(void)
{
    /* =========================
       Motor 1
       ========================= */
    int32_t rawCount;
    int32_t delta;
    int8_t requested_dir = 0;

    if (controlEnabled == 0U)
    {
        return;
    }

    rawCount = (int32_t)TIM4->CNT;

    delta = rawCount - prevRawCount;
    if (delta > 32767)  delta -= 65536;
    if (delta < -32767) delta += 65536;
    prevRawCount = rawCount;

    absAngle += (360.0f / COUNTS_PER_REV) * (float)delta;
    actualAngle = absAngle;

    control_u = PIDController_Update(&pid, desiredAngle, actualAngle);

    duty_cmd = fabsf(control_u) / pid.limMax;
    if (duty_cmd > DUTY_MAX) duty_cmd = DUTY_MAX;
    if (duty_cmd < DUTY_MIN_ACTIVE) duty_cmd = 0.0f;

    if (dir_state == 0)
    {
        if (control_u > U_ON)       requested_dir = +1;
        else if (control_u < -U_ON) requested_dir = -1;
    }
    else if (dir_state == +1)
    {
        if (control_u < U_OFF)      requested_dir = 0;
        else if (control_u < -U_ON) requested_dir = -1;
        else                        requested_dir = +1;
    }
    else
    {
        if (control_u > -U_OFF)     requested_dir = 0;
        else if (control_u > U_ON)  requested_dir = +1;
        else                        requested_dir = -1;
    }

    dir_state = requested_dir;
    limitSwitchRight = Read_Right_Limit_Switch();

    if ((limitSwitchRight != 0U) && (requested_dir < 0))
    {
        requested_dir       = 0;
        dir_state           = 0;
        applied_dir         = 0;
        deadtimeTicks       = 0U;
        duty_cmd            = 0.0f;
        control_u           = 0.0f;
        pid.integrator      = 0.0f;
        pid.differentiator  = 0.0f;
        pid.prevError       = 0.0f;
        pid.prevMeasurement = actualAngle;
        absAngle            = 0.0f;
        actualAngle         = 0.0f;
        desiredAngle        = 0.0f;
        Solenoid_Set(0U);
    }

    if (deadtimeTicks > 0U)
    {
        deadtimeTicks--;
        applied_dir = 0;
    }
    else if (requested_dir != applied_dir)
    {
        if ((requested_dir != 0) && (applied_dir != 0))
        {
            applied_dir = 0;
            deadtimeTicks = DEADTIME_MS;
        }
        else
        {
            applied_dir = requested_dir;
        }
    }

    dir = applied_dir;

    if (dir == 0)
    {
        duty_cmd = 0.0f;
    }

    if (dir < 0)
    {
        PWM_SetDuty(&PWM_FWD_TIM, PWM_FWD_CH, duty_cmd);
        PWM_SetDuty(&PWM_REV_TIM, PWM_REV_CH, 0.0f);
    }
    else if (dir > 0)
    {
        PWM_SetDuty(&PWM_FWD_TIM, PWM_FWD_CH, 0.0f);
        PWM_SetDuty(&PWM_REV_TIM, PWM_REV_CH, duty_cmd);
    }
    else
    {
        PWM_SetDuty(&PWM_FWD_TIM, PWM_FWD_CH, 0.0f);
        PWM_SetDuty(&PWM_REV_TIM, PWM_REV_CH, 0.0f);
    }

    /* =========================
       Motor 2
       TIM3 CH1/CH2 = encoder
       TIM2 CH1/CH3 = PWM
       ========================= */
    {
        int32_t rawCount2;
        int32_t delta2;
        int8_t requested_dir2 = 0;

        rawCount2 = (int32_t)TIM3->CNT;

        delta2 = rawCount2 - prevRawCount2;
        if (delta2 > 32767)  delta2 -= 65536;
        if (delta2 < -32767) delta2 += 65536;
        prevRawCount2 = rawCount2;

        absAngle2 += (360.0f / COUNTS_PER_REV_M2) * (float)delta2;
        actualAngle2 = absAngle2;

        control_u2 = PIDController_Update(&pid2, desiredAngle2, actualAngle2);

        duty_cmd2 = fabsf(control_u2) / pid2.limMax;
        if (duty_cmd2 > DUTY_MAX) duty_cmd2 = DUTY_MAX;
        if (duty_cmd2 < DUTY_MIN_ACTIVE) duty_cmd2 = 0.0f;

        if (dir_state2 == 0)
        {
            if (control_u2 > U_ON)       requested_dir2 = +1;
            else if (control_u2 < -U_ON) requested_dir2 = -1;
        }
        else if (dir_state2 == +1)
        {
            if (control_u2 < U_OFF)      requested_dir2 = 0;
            else if (control_u2 < -U_ON) requested_dir2 = -1;
            else                         requested_dir2 = +1;
        }
        else
        {
            if (control_u2 > -U_OFF)     requested_dir2 = 0;
            else if (control_u2 > U_ON)  requested_dir2 = +1;
            else                         requested_dir2 = -1;
        }

        dir_state2 = requested_dir2;

        if (deadtimeTicks2 > 0U)
        {
            deadtimeTicks2--;
            applied_dir2 = 0;
        }
        else if (requested_dir2 != applied_dir2)
        {
            if ((requested_dir2 != 0) && (applied_dir2 != 0))
            {
                applied_dir2 = 0;
                deadtimeTicks2 = DEADTIME_MS;
            }
            else
            {
                applied_dir2 = requested_dir2;
            }
        }

        dir2 = applied_dir2;

        if (dir2 == 0)
        {
            duty_cmd2 = 0.0f;
        }

        if (dir2 < 0)
        {
            PWM_SetDuty(&M2_PWM_FWD_TIM, M2_PWM_FWD_CH, duty_cmd2);
            PWM_SetDuty(&M2_PWM_REV_TIM, M2_PWM_REV_CH, 0.0f);
        }
        else if (dir2 > 0)
        {
            PWM_SetDuty(&M2_PWM_FWD_TIM, M2_PWM_FWD_CH, 0.0f);
            PWM_SetDuty(&M2_PWM_REV_TIM, M2_PWM_REV_CH, duty_cmd2);
        }
        else
        {
            PWM_SetDuty(&M2_PWM_FWD_TIM, M2_PWM_FWD_CH, 0.0f);
            PWM_SetDuty(&M2_PWM_REV_TIM, M2_PWM_REV_CH, 0.0f);
        }
    }
}

/* USER CODE END 4 */

void Error_Handler(void)
{
  __disable_irq();
  while (1)
  {
  }
}
